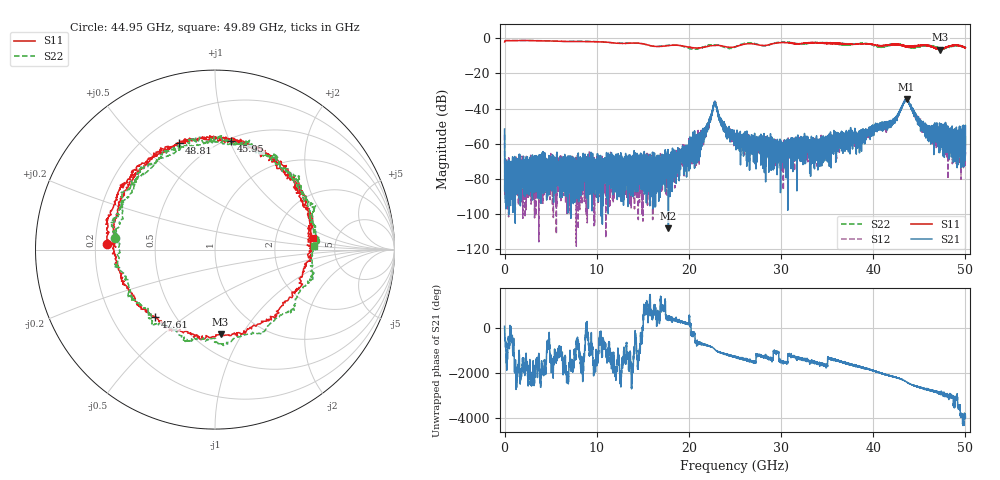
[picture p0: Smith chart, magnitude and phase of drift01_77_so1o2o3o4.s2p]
!Created with skrf (http://scikit-rf.org).
# Hz S RI R 50.0
!freq ReS11 ImS11 ReS21 ImS21 ReS12 ImS12 ReS22 ImS22
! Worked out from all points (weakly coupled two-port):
!   10001 points, 300 kHz to 50 GHz, reference 50 ohm
!   highest |S21| = -34.85 dB at 43.62 GHz (marker M1); lowest = -107.9 dB at 17.78 GHz (marker M2)
!   lowest |S11| = -6.5 dB at 47.28 GHz (marker M3), VSWR 2.79, Z = 33.4 - j40.7 ohm
!   |S11| at or under -10 dB: nowhere
!   |S22| runs from -6.4 to -1.3 dB; largest |S21 - S12| = 0.0036
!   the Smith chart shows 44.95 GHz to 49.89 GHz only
!   S11 on the Smith chart (normalised r, x): 44.95 GHz: 0.25, +0.02; 45.95 GHz: 0.53, +1.01; 47.61 GHz: 0.39, -0.39; 48.81 GHz: 0.34, +0.66; 49.89 GHz: 3.30, +0.59
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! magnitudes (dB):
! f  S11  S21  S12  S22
! 300 kHz  -2.2  -51.7  -54.8  -2.1
! 255.3 MHz  -1.4  -75.6  -71.8  -1.4
! 405.3 MHz  -1.4  -77.5  -81.8  -1.4
! 8.335 GHz  -1.9  -72.8  -75.3  -1.8
! 16.67 GHz  -4.8  -68.9  -82.2  -4.8
! 17.78 GHz  -4.3  -107.9  -75.0  -4.1
! 21 GHz  -5.6  -56.1  -59.9  -6.2
! 21.95 GHz  -4.8  -51.1  -51.4  -4.4
! 22.79 GHz  -4.3  -36.6  -36.2  -4.0
! 23.89 GHz  -4.8  -52.1  -52.8  -5.2
! 25 GHz  -5.0  -54.5  -57.7  -5.0
! 30.04 GHz  -2.5  -63.8  -71.6  -2.3
! 33.34 GHz  -2.5  -71.1  -65.2  -2.7
! 41.67 GHz  -3.9  -48.5  -49.3  -4.1
! 43.62 GHz  -5.0  -34.8  -35.0  -4.8
! 44.95 GHz  -4.4  -45.6  -47.9  -5.0
! 45.95 GHz  -4.3  -53.3  -50.9  -4.4
! 47.28 GHz  -6.5  -55.9  -55.0  -5.8
! 47.61 GHz  -5.9  -51.1  -57.6  -6.0
! 48.81 GHz  -4.1  -51.6  -58.6  -4.5
! 49.89 GHz  -5.2  -51.1  -61.0  -5.2
! 50 GHz  -5.5  -60.8  -65.9  -5.2
